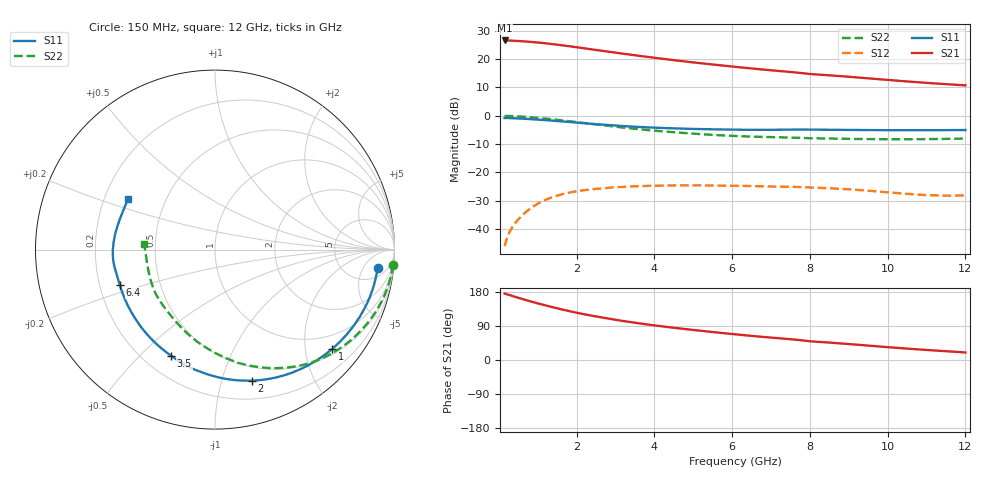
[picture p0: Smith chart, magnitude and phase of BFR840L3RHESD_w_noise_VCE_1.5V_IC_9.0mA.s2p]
! Infineon Technologies  Discrete & RF Semiconductors
! BFR840L3RHESD
! VCE =  1.5 V,  IC =  9.0 mA
! Common Emitter S-Parameters:  Jun 2012
# GHz  S  MA  R  50
!  f  S11  S21  S12  S22
! GHz  MAG  ANG  MAG  ANG  MAG  ANG  MAG  ANG
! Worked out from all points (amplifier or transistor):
!   91 points, 150 MHz to 12 GHz, reference 50 ohm
!   highest |S21| = 26.6 dB at 150 MHz (marker M1)
!   |S21| within 3 dB of that: start of sweep to 2.318 GHz
!   unconditionally stable (mu >= 1): 8.546 GHz to end of sweep
!   at 1.3 GHz: K = 0.12, MSG = 27.3 dB, |S12| = -29.1 dB
!   at 4.3 GHz: K = 0.39, MSG = 22.3 dB, |S12| = -24.6 dB
!   at 12 GHz: K = 2.13, MAG = 13.4 dB, |S12| = -28.1 dB
!   lowest NFmin = 0.66 dB at 450 MHz
!   S11 on the Smith chart (normalised r, x): 150 MHz: 9, -11; 1 GHz: 0.62, -2.59; 2 GHz: 0.36, -1.25; 3.5 GHz: 0.31, -0.62; 6.4 GHz: 0.29, -0.16; 12 GHz: 0.30, +0.25
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0.15  0.9117 -6.4  21.32 175.2  0.005 85.9  0.9946 -4.9
0.3  0.9071 -12.8  21.18 170.6  0.0095 83.1  0.9884 -10.1
0.5  0.8962 -21.0  20.86 164.3  0.0148 76.5  0.9744 -16.6
0.7  0.8815 -28.9  20.43 158.1  0.0201 70.7  0.9548 -22.8
1  0.8558 -40.4  19.62 149.5  0.028 63.9  0.9185 -31.8
1.2  0.8373 -47.7  18.99 144.2  0.0328 60.0  0.8916 -37.5
1.5  0.8083 -58.2  17.96 136.5  0.0389 54.1  0.8488 -45.7
1.7  0.7883 -64.9  17.26 131.6  0.0423 50.4  0.8191 -50.8
2  0.7581 -74.4  16.2 124.8  0.0465 45.2  0.7737 -58.0
2.2  0.7386 -80.4  15.5 120.7  0.0487 42.2  0.744 -62.6
2.5  0.7115 -88.6  14.49 115.0  0.0512 38.3  0.7022 -69.0
2.9  0.6804 -98.6  13.3 107.9  0.0542 32.8  0.6541 -76.7
3.1  0.6651 -103.6  12.72 104.5  0.0551 30.7  0.6298 -80.5
3.5  0.6402 -112.4  11.69 98.4  0.0569 26.9  0.5888 -87.5
4.2  0.61 -126.1  10.15 88.8  0.0586 21.6  0.5323 -98.7
5  0.5863 -139.9  8.747 79.3  0.059 16.4  0.4838 -110.4
6.1  0.5684 -155.9  7.279 67.6  0.0581 10.7  0.4392 -125.2
6.4  0.5656 -159.7  6.942 64.6  0.0576 9.5  0.4314 -129.1
8  0.5692 -179.8  5.454 49.4  0.0542 3.6  0.4019 -150.5
8.5  0.5664 175.8  5.175 46.0  0.0526 2.4  0.3962 -155.0
10.5  0.5555 158.6  4.034 30.1  0.0419 4.8  0.3856 -173.8
12  0.5607 149.9  3.441 19.9  0.0393 16.4  0.3968 175.7
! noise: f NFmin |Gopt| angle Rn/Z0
0.45  0.66  0.35  7  0.16
0.9  0.69  0.36  12  0.16
1.9  0.72  0.37  29  0.15
3.5  0.73  0.35  49  0.14
4  0.75  0.35  59  0.14
5.5  0.78  0.36  72  0.13
7  0.85  0.35  92  0.11
8  0.91  0.33  102  0.11
10  1.01  0.32  124  0.1
12  1.16  0.28  156  0.09
